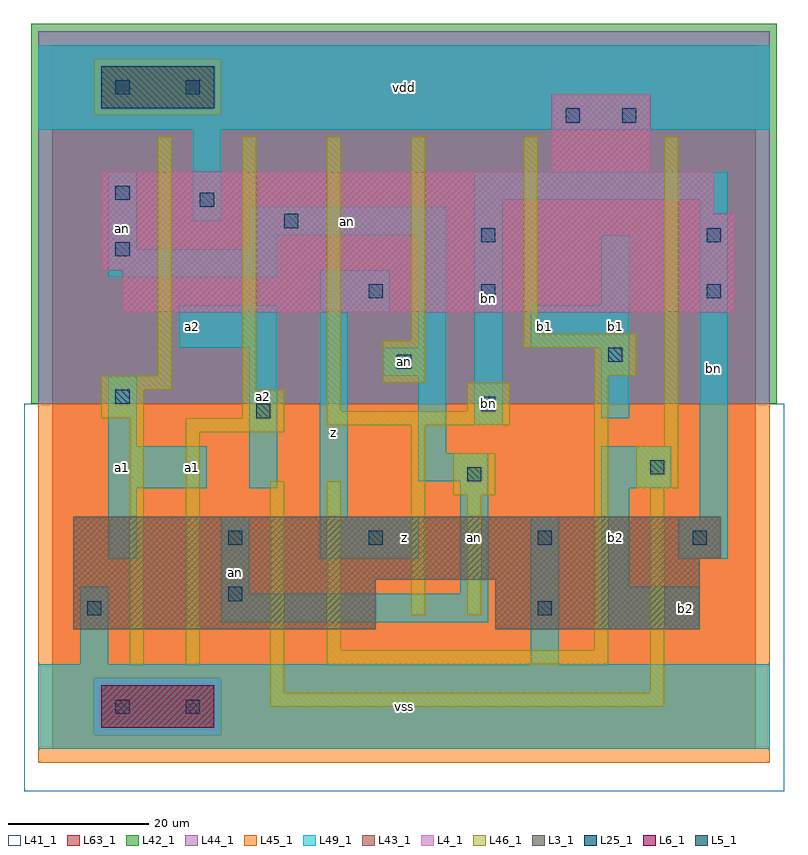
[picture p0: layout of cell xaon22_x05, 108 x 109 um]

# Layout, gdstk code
import gdstk
lib = gdstk.Library(unit=1e-6, precision=1e-09)
def R(c, l, rs):  # rectangles x0, y0, x1, y1
    for r in rs: c.add(gdstk.rectangle(r[:2], r[2:], *l))
L3_1 = (3, 1)
L4_1 = (4, 1)
L5_1 = (5, 1)
L6_1 = (6, 1)
L25_1 = (25, 1)
L41_1 = (41, 1)
L42_1 = (42, 1)
L43_1 = (43, 1)
L44_1 = (44, 1)
L45_1 = (45, 1)
L46_1 = (46, 1)
L49_1 = (49, 1)
L63_1 = (63, 1)

xaon22_x05 = lib.new_cell('xaon22_x05')
R(xaon22_x05, L3_1, [(3,17,46,24), (63,17,92,24), (3,24,92,27), (3,27,95,33)])
R(xaon22_x05, L4_1, [(10,62,97,68), (7,68,97,76), (7,76,94,82), (71,82,85,93)])
R(xaon22_x05, L5_1, [(7,91,23,97)])
R(xaon22_x05, L6_1, [(7,3,23,9)])
R(xaon22_x05, L25_1, [(9,5,11,7), (19,5,21,7), (5,19,7,21), (69,19,71,21), (25,21,27,23), (25,29,27,31), (45,29,47,31), (69,29,71,31), (91,29,93,31), (59,38,61,40), (85,39,87,41), (29,47,31,49), (61,48,63,50), (9,49,11,51), (49,54,51,56), (79,55,81,57), (45,64,47,66), (61,64,63,66), (93,64,95,66), (9,70,11,72), (61,72,63,74), (93,72,95,74), (33,74,35,76), (21,77,23,79), (9,78,11,80), (73,89,75,91), (81,89,83,91), (9,93,11,95), (19,93,21,95)])
R(xaon22_x05, L41_1, [(-4,-6,104,49), (-3,-3,103,49)])
R(xaon22_x05, L42_1, [(-3,49,103,103)])
R(xaon22_x05, L43_1, [(7,3,23,9), (3,17,46,24), (63,17,92,24), (3,24,92,27), (3,27,95,33), (10,62,97,68), (7,68,97,76), (7,76,94,82), (71,82,85,93), (7,91,23,97)])
R(xaon22_x05, L44_1, [(6,2,24,10), (-2,49,102,90), (-2,90,6,98), (24,90,102,98), (-2,98,102,102)])
R(xaon22_x05, L45_1, [(-2,-2,102,2), (-2,2,6,10), (24,2,102,10), (-2,10,102,49), (6,90,24,98)])
R(xaon22_x05, L46_1, [(31,6,87,8), (31,8,33,38), (85,8,87,37), (11,12,13,47), (19,12,21,45), (39,12,79,14), (39,14,41,38), (77,14,79,53), (51,19,53,46), (59,19,61,36), (57,36,63,42), (83,37,89,43), (87,43,89,87), (19,45,33,47), (39,46,65,48), (7,47,13,51), (27,47,33,51), (39,48,41,87), (59,48,65,52), (7,51,17,53), (27,51,29,87), (47,52,53,58), (15,53,17,87), (77,53,83,57), (67,57,83,59), (51,58,53,87), (67,59,69,87)])
R(xaon22_x05, L49_1, [(-2,0,102,12), (4,12,8,23), (68,12,72,33), (78,17,92,23), (24,18,62,22), (24,22,28,33), (58,22,62,38), (78,23,82,37), (8,27,12,37), (38,27,52,33), (89,27,96,33), (38,33,42,62), (92,33,96,78), (8,37,22,43), (28,37,32,57), (78,37,88,43), (52,38,62,42), (52,42,56,53), (8,43,12,53), (60,46,64,78), (78,47,82,57), (47,53,56,57), (18,57,32,63), (52,57,56,73), (68,57,82,63), (38,62,48,68), (78,63,82,73), (8,67,32,71), (8,71,12,82), (28,71,32,73), (28,73,56,77), (20,75,24,88), (60,78,96,82), (-2,88,102,100)])
R(xaon22_x05, L63_1, [(0,0,100,100)])
xaon22_x05.add(gdstk.Label('an', (60,30), layer=46, texttype=1))
xaon22_x05.add(gdstk.Label('bn', (62,49), layer=49, texttype=1))
xaon22_x05.add(gdstk.Label('an', (50,55), layer=49, texttype=1))
xaon22_x05.add(gdstk.Label('a1', (10,40), layer=49, texttype=1))
xaon22_x05.add(gdstk.Label('a1', (10,40), layer=49, texttype=1))
xaon22_x05.add(gdstk.Label('an', (10,74), layer=49, texttype=1))
xaon22_x05.add(gdstk.Label('an', (26,25), layer=49, texttype=1))
xaon22_x05.add(gdstk.Label('a1', (20,40), layer=49, texttype=1))
xaon22_x05.add(gdstk.Label('a1', (20,40), layer=49, texttype=1))
xaon22_x05.add(gdstk.Label('a2', (30,50), layer=49, texttype=1))
xaon22_x05.add(gdstk.Label('a2', (30,50), layer=49, texttype=1))
xaon22_x05.add(gdstk.Label('a2', (20,60), layer=49, texttype=1))
xaon22_x05.add(gdstk.Label('a2', (20,60), layer=49, texttype=1))
xaon22_x05.add(gdstk.Label('vss', (50,6), layer=49, texttype=1))
xaon22_x05.add(gdstk.Label('vss', (50,6), layer=49, texttype=1))
xaon22_x05.add(gdstk.Label('z', (50,30), layer=49, texttype=1))
xaon22_x05.add(gdstk.Label('z', (50,30), layer=49, texttype=1))
xaon22_x05.add(gdstk.Label('z', (40,45), layer=49, texttype=1))
xaon22_x05.add(gdstk.Label('z', (40,45), layer=49, texttype=1))
xaon22_x05.add(gdstk.Label('an', (51,55), layer=49, texttype=1))
xaon22_x05.add(gdstk.Label('an', (42,75), layer=49, texttype=1))
xaon22_x05.add(gdstk.Label('vdd', (50,94), layer=49, texttype=1))
xaon22_x05.add(gdstk.Label('vdd', (50,94), layer=49, texttype=1))
xaon22_x05.add(gdstk.Label('an', (60,30), layer=49, texttype=1))
xaon22_x05.add(gdstk.Label('b1', (70,60), layer=49, texttype=1))
xaon22_x05.add(gdstk.Label('b1', (70,60), layer=49, texttype=1))
xaon22_x05.add(gdstk.Label('bn', (62,64), layer=49, texttype=1))
xaon22_x05.add(gdstk.Label('b2', (90,20), layer=49, texttype=1))
xaon22_x05.add(gdstk.Label('b2', (90,20), layer=49, texttype=1))
xaon22_x05.add(gdstk.Label('b2', (80,30), layer=49, texttype=1))
xaon22_x05.add(gdstk.Label('b2', (80,30), layer=49, texttype=1))
xaon22_x05.add(gdstk.Label('b1', (80,60), layer=49, texttype=1))
xaon22_x05.add(gdstk.Label('b1', (80,60), layer=49, texttype=1))
xaon22_x05.add(gdstk.Label('bn', (94,54), layer=49, texttype=1))

lib.write_gds('xaon22_x05.gds')
